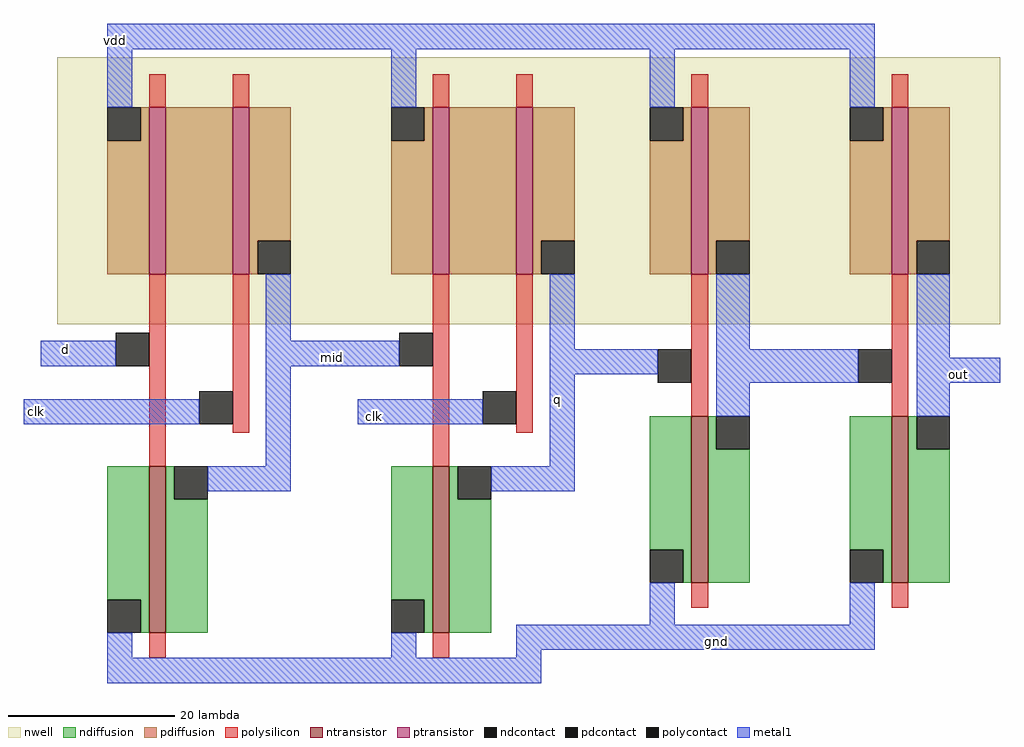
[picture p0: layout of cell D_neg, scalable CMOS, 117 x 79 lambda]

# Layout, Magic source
magic
tech scmos
<< nwell >>
rect -195 75 -82 107
<< ntransistor >>
rect -184 38 -182 58
rect -150 38 -148 58
rect -119 44 -117 64
rect -95 44 -93 64
<< ptransistor >>
rect -184 81 -182 101
rect -174 81 -172 101
rect -150 81 -148 101
rect -140 81 -138 101
rect -119 81 -117 101
rect -95 81 -93 101
<< ndiffusion >>
rect -189 42 -184 58
rect -185 38 -184 42
rect -182 54 -181 58
rect -182 38 -177 54
rect -155 42 -150 58
rect -151 38 -150 42
rect -148 54 -147 58
rect -148 38 -143 54
rect -124 48 -119 64
rect -120 44 -119 48
rect -117 60 -116 64
rect -117 44 -112 60
rect -100 48 -95 64
rect -96 44 -95 48
rect -93 60 -92 64
rect -93 44 -88 60
<< pdiffusion >>
rect -185 97 -184 101
rect -189 81 -184 97
rect -182 81 -174 101
rect -172 85 -167 101
rect -172 81 -171 85
rect -151 97 -150 101
rect -155 81 -150 97
rect -148 81 -140 101
rect -138 85 -133 101
rect -138 81 -137 85
rect -120 97 -119 101
rect -124 81 -119 97
rect -117 85 -112 101
rect -117 81 -116 85
rect -96 97 -95 101
rect -100 81 -95 97
rect -93 85 -88 101
rect -93 81 -92 85
<< ndcontact >>
rect -189 38 -185 42
rect -181 54 -177 58
rect -155 38 -151 42
rect -147 54 -143 58
rect -124 44 -120 48
rect -116 60 -112 64
rect -100 44 -96 48
rect -92 60 -88 64
<< pdcontact >>
rect -189 97 -185 101
rect -171 81 -167 85
rect -155 97 -151 101
rect -137 81 -133 85
rect -124 97 -120 101
rect -116 81 -112 85
rect -100 97 -96 101
rect -92 81 -88 85
<< polysilicon >>
rect -184 101 -182 105
rect -174 101 -172 105
rect -150 101 -148 105
rect -140 101 -138 105
rect -119 101 -117 105
rect -95 101 -93 105
rect -184 58 -182 81
rect -174 62 -172 81
rect -150 58 -148 81
rect -140 62 -138 81
rect -119 64 -117 81
rect -95 64 -93 81
rect -119 41 -117 44
rect -95 41 -93 44
rect -184 35 -182 38
rect -150 35 -148 38
<< polycontact >>
rect -188 70 -184 74
rect -178 63 -174 67
rect -154 70 -150 74
rect -144 63 -140 67
rect -123 68 -119 72
rect -99 68 -95 72
<< metal1 >>
rect -189 108 -97 111
rect -189 101 -186 108
rect -155 101 -152 108
rect -124 101 -121 108
rect -100 101 -97 108
rect -197 70 -188 73
rect -170 73 -167 81
rect -170 70 -154 73
rect -136 72 -133 81
rect -116 72 -112 81
rect -199 63 -178 66
rect -170 58 -167 70
rect -136 69 -123 72
rect -159 63 -144 66
rect -136 58 -133 69
rect -116 68 -99 72
rect -92 71 -88 81
rect -92 68 -82 71
rect -116 64 -112 68
rect -92 64 -88 68
rect -177 55 -167 58
rect -143 55 -133 58
rect -124 39 -121 44
rect -100 39 -97 44
rect -189 35 -186 38
rect -155 35 -152 38
rect -140 36 -97 39
rect -140 35 -137 36
rect -189 32 -137 35
<< labels >>
rlabel metal1 -194 72 -194 72 1 d
rlabel metal1 -198 64 -197 65 3 clk
rlabel metal1 -87 69 -87 69 7 out
rlabel metal1 -116 37 -116 37 1 gnd
rlabel metal1 -162 71 -162 71 1 mid
rlabel metal1 -157 64 -157 64 1 clk
rlabel metal1 -135 66 -135 66 1 q
rlabel metal1 -188 109 -188 109 5 vdd
<< end >>
